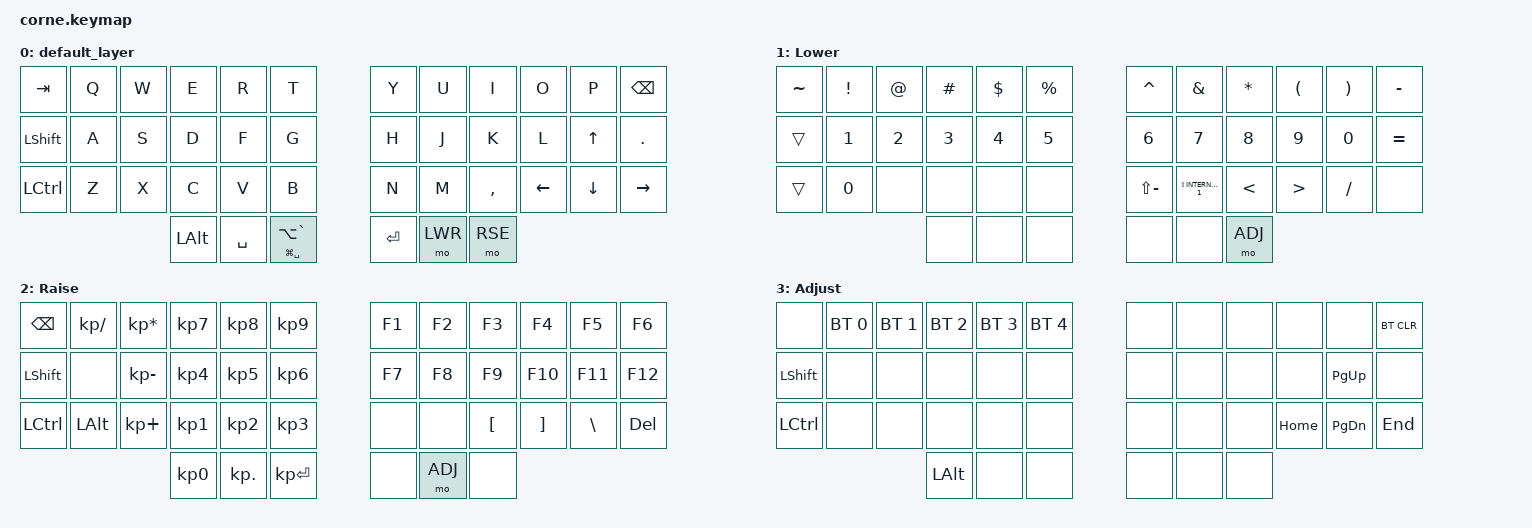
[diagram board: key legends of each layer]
/*
 * Copyright (c) 2020 The ZMK Contributors
 *
 * SPDX-License-Identifier: MIT
 */

#include <behaviors.dtsi>
#include <dt-bindings/zmk/bt.h>
#include <dt-bindings/zmk/keys.h>

#define DEF 0
#define LWR 1
#define RSE 2
#define ADJ 3
#define MED 4
#define NOT 5
#define LOC 6

// #define MOU 7
/*                            KEY POSITIONS
  ╭─────────────────────────────╮         ╭──────────────────────────────╮
  │  0   1Q   2W   3E   4R   5T │         │  6Y   7U   8I   9O  10P  11| │
  │ 12  13A  14S  15D  16F  17G │         │ 18H  19J  20K  21L  22;  23' │
  │ 24  25\  26z  27x  28c  29v ╰───╮ ╭───╯ 30b  31n  32m  33,  34.  35/ │
  ╰──────────────────╮ 36   37   38 │ │ 39   40   41 ╭───────────────────╯
                     ╰──────────────╯ ╰──────────────╯            */

/ {
    combos {
        // Symbols / Operations

        compatible = "zmk,combos";

        combo_esc {
            timeout-ms = <50>;
            key-positions = <0 1>; // KP: TAB Q
            bindings = <&kp ESC>; // ESC
            layers = <0 >;
        };

        combo_win {
            timeout-ms = <50>;
            key-positions = <36 37>; // KP: ALT SPACE
            bindings = <&kp LEFT_WIN>; // LWIN
            layers = <0 >;
        };

        combo_f12 {
            timeout-ms = <50>;
            key-positions = <10 11>; // KP:P BSK
            bindings = <&kp F12>; // F12
            layers = <0 >;
        };

        combo_SEMICOLON {
            timeout-ms = <50>;
            key-positions = <22 23>; // KP: up dot
            bindings = <&kp SEMI>; // ;
            layers = <0 >;
        };

        combo_SINGLE_QUOTE {
            timeout-ms = <50>;
            key-positions = <23 35>; // KP: dot right
            bindings = <&kp SQT>; // '
            layers = <0 >;
        };
    };
};

// / {
//     macros {
//         zmk_macro: zmk_macro {
//             label = "zmk_macro";
//             compatible = "zmk,behavior-macro";
//             #binding-cells = <0>;
//             bindings
//                 = <&macro_press &kp LSHFT>
//                 , <&macro_tap &kp Z &kp M &kp K>
//                 , <&macro_release &kp LSHFT>
//                 ;
//         };
//         email_a_macro: email_a_macro {
//             label = "email_a_macro";
//             compatible = "zmk,behavior-macro";
//             #binding-cells = <0>;
//             bindings
//                 = <&macro_press &kp LSHFT>
//                 , <&macro_tap &kp Z &kp M &kp K>
//                 , <&macro_release &kp LSHFT>
//                 ;
//         };
//     };
// };

/ {
    behaviors {
        // hm: homerow_mods {
        //     compatible = "zmk,behavior-hold-tap";
        //     label = "HOMEROW_MODS";
        //     #binding-cells = <2>;
        //     tapping-term-ms = <200>;
        //     quick_tap_ms = <0>;
        //     flavor = "tap-preferred";
        //     bindings = <&kp>, <&kp>;
        // };
        // hs: homerow_shifts {
        //     compatible = "zmk,behavior-hold-tap";
        //     label = "HOMEROW_SHIFTS";
        //     #binding-cells = <2>;
        //     tapping-term-ms = <150>;
        //     quick_tap_ms = <0>;
        //     flavor = "balanced";
        //     bindings = <&kp>, <&kp>;
        // };
        // td: tapdance {
        //         compatible = "zmk,behavior-hold-tap";
        //         label = "TAPDANCE";
        //         #binding-cells = <2>;
        //         tapping-term-ms = <190>;
        //         quick_tap_ms = <0>;
        //         flavor = "tap-preferred";
        //         bindings = <&kp>, <&kp>;
        //     };
        // Doesn't work: https://zmk.dev/docs/behaviors/tap-dance/#example-usage
        // td0: tap_dance_0 {
        //     compatible = "zmk,behavior-tap-dance";
        //     label = "TAP_DANCE_0";
        //     #binding-cells = <0>;
        //     tapping-term-ms = <200>;
        //     bindings = <&kp N1>, <&kp N2>, <&kp N3>;
        // };
    };

    keymap {
        compatible = "zmk,keymap";

        default_layer {
            // -----------------------------------------------------------------------------------------
            // | TAB  |  Q  |  W  |  E  |  R  |  T  |   |  Y  |  U   |  I  |  O  |  P  | BKSP |
            // |Shift |  A  |  S  |  D  |  F  |  G  |   |  H  |  J   |  K  |  L  |  UP | ./>  |
            // | Ctrl |  Z  |  X  |  C  |  V  |  B  |   |  N  |  M   | ,/< | LEFT| DOWN| RIGHT|
            //                    | Alt | SPC | C-J |   | ENT | LWR  | RSE |

            bindings = <
&kp TAB    &kp Q  &kp W  &kp E     &kp R      &kp T                      &kp Y    &kp U    &kp I      &kp O     &kp P     &kp BSPC
&kp LSHFT  &kp A  &kp S  &kp D     &kp F      &kp G                      &kp H    &kp J    &kp K      &kp L     &kp UP    &kp DOT
&kp LCTRL  &kp Z  &kp X  &kp C     &kp V      &kp B                      &kp N    &kp M    &kp COMMA  &kp LEFT  &kp DOWN  &kp RIGHT
                         &kp LALT  &kp SPACE  &mt LG(SPACE) LA(GRAVE)    &kp RET  &mo LWR  &mo RSE
            >;
        };

        lower_layer {
            // -----------------------------------------------------------------------------------------
            // |  ~  |  !  |  @  |  #  |  $  |  %  |   |  ^  |  &  |  *  |  (  |  )  |  -  |
            // |Shift|  1  |  2  |  3  |  4  |  5  |   |  6  |  7  |  8  |  9  |  0  |  =  |
            // | Ctrl|  0  |     |     |     |     |   |     |     |  <  |  >  |  /  |     |
            //                   |     |     |     |   |     |     | ADJ |

            label = "Lower";
            bindings = <
&kp TILDE  &kp EXCL  &kp AT  &kp HASH  &kp DLLR  &kp PRCNT    &kp CARET      &kp AMPS                 &kp STAR  &kp LPAR  &kp RPAR  &kp MINUS
&trans     &kp N1    &kp N2  &kp N3    &kp N4    &kp N5       &kp N6         &kp N7                   &kp N8    &kp N9    &kp N0    &kp EQUAL
&trans     &kp N0    &none   &none     &none     &none        &kp LS(MINUS)  &kp LS(INTERNATIONAL_1)  &kp LT    &kp GT    &kp FSLH  &none
                             &none     &none     &none        &none          &none                    &mo ADJ
            >;
        };

        raise_layer {
            // -----------------------------------------------------------------------------------------
            // | BKSP |  /  |  *  |  7  |  8  |  9  |           |  F1 |  F2 |  F3  |  F4  | F5  | F6  |
            // |Shift |     |  -  |  4  |  5  |  6  |           |  F7 |  F8 |  F9  |  F10 | F11 | F12 |
            // | Ctrl | LAlt|  +  |  1  |  2  |  3  |           |     |     |  [   |  ]   |  \  | Del |
            //                    |  0  |  .  |Enter|           |     | ADJ |      |

            label = "Raise";
            bindings = <
&kp BSPC   &kp KP_SLASH  &kp KP_ASTERISK  &kp KP_N7  &kp KP_N8   &kp KP_N9       &kp F1  &kp F2   &kp F3    &kp F4    &kp F5    &kp F6
&kp LSHFT  &none         &kp KP_SUBTRACT  &kp KP_N4  &kp KP_N5   &kp KP_N6       &kp F7  &kp F8   &kp F9    &kp F10   &kp F11   &kp F12
&kp LCTRL  &kp LALT      &kp KP_PLUS      &kp KP_N1  &kp KP_N2   &kp KP_N3       &none   &none    &kp LBKT  &kp RBKT  &kp BSLH  &kp DEL
                                          &kp KP_N0  &kp KP_DOT  &kp KP_ENTER    &none   &mo ADJ  &none
            >;
        };

        adjust_layer {
            // -----------------------------------------------------------------------------------------------
            // |     | BT0 | BT1 | BT2 | BT3 | BT4 |            |      |      |     |      |      | BTCLR|
            // |Shift|     |     |     |     |     |            |      |      |     |      | Pgup |      |
            // | Ctrl|     |     |     |     |     |            |      |      |     | Home | Pgdn | End  |
            //                   | Alt |     |     |            |      |      |     |

            label = "Adjust";
            bindings = <
&none      &bt BT_SEL 0  &bt BT_SEL 1  &bt BT_SEL 2  &bt BT_SEL 3  &bt BT_SEL 4    &none  &none  &none  &none     &none      &bt BT_CLR
&kp LSHFT  &none         &none         &none         &none         &none           &none  &none  &none  &none     &kp PG_UP  &none
&kp LCTRL  &none         &none         &none         &none         &none           &none  &none  &none  &kp HOME  &kp PG_DN  &kp END
                                       &kp LALT      &none         &none           &none  &none  &none
            >;
        };
    };
};
